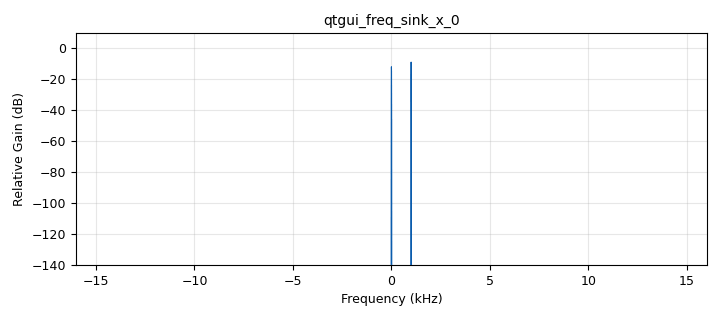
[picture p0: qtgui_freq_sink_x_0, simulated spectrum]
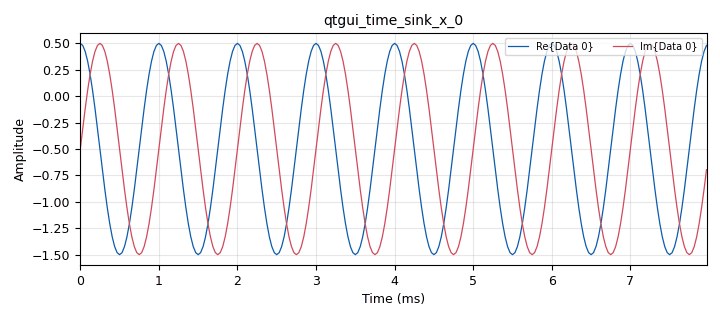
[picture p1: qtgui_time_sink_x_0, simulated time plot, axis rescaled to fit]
options:
  parameters:
    author: rcampello
    description: 'PDF pula o label: "example006"'
    generate_options: qt_gui
    id: example007
    output_language: python
    title: example007
  states: {}

blocks:
- name: f0
  id: variable_qtgui_range
  parameters:
    gui_hint: 1, 1, 1, 1
    orient: Qt.Horizontal
    start: '-5000'
    step: '1'
    stop: '5000'
    value: '1000'
  states: {}
- name: offset
  id: variable_qtgui_range
  parameters:
    gui_hint: 0, 1, 1, 1
    orient: Qt.Horizontal
    start: '-1'
    step: '0.01'
    stop: '1'
    value: '0'
  states: {}
- name: samp_rate
  id: variable
  parameters:
    value: '32000'
  states: {}
- name: waveform
  id: variable_qtgui_chooser
  parameters:
    gui_hint: 0, 0, 2, 1
    label0: Cosine
    label1: Rectangular
    label2: Triangular
    num_opts: '3'
    option1: '103'
    option2: '104'
    type: int
    value: '102'
    widget: radio_buttons
  states: {}
- name: analog_sig_source_x_0
  id: analog_sig_source_x
  parameters:
    amp: '1'
    freq: f0
    offset: offset
    phase: '0'
    samp_rate: samp_rate
    type: complex
    waveform: waveform
  states: {}
- name: blocks_add_const_vxx_0
  id: blocks_add_const_vxx
  parameters:
    const: '-0.5-0.5j'
    type: complex
  states: {}
- name: blocks_throttle_0
  id: blocks_throttle
  parameters:
    samples_per_second: samp_rate
    type: complex
  states: {}
- name: qtgui_freq_sink_x_0
  id: qtgui_freq_sink_x
  parameters:
    bw: samp_rate
    fc: '0'
    fftsize: 1024 * 8
    grid: 'True'
    gui_hint: 2, 1, 1, 1
    type: complex
    wintype: firdes.WIN_BLACKMAN_hARRIS
  states: {}
- name: qtgui_time_sink_x_0
  id: qtgui_time_sink_x
  parameters:
    grid: 'True'
    gui_hint: 2, 0, 1, 1
    size: 1024 // 4
    srate: samp_rate
    type: complex
  states: {}

connections:
- [analog_sig_source_x_0, '0', blocks_add_const_vxx_0, '0']
- [blocks_add_const_vxx_0, '0', blocks_throttle_0, '0']
- [blocks_throttle_0, '0', qtgui_freq_sink_x_0, '0']
- [blocks_throttle_0, '0', qtgui_time_sink_x_0, '0']

metadata:
  file_format: 1
